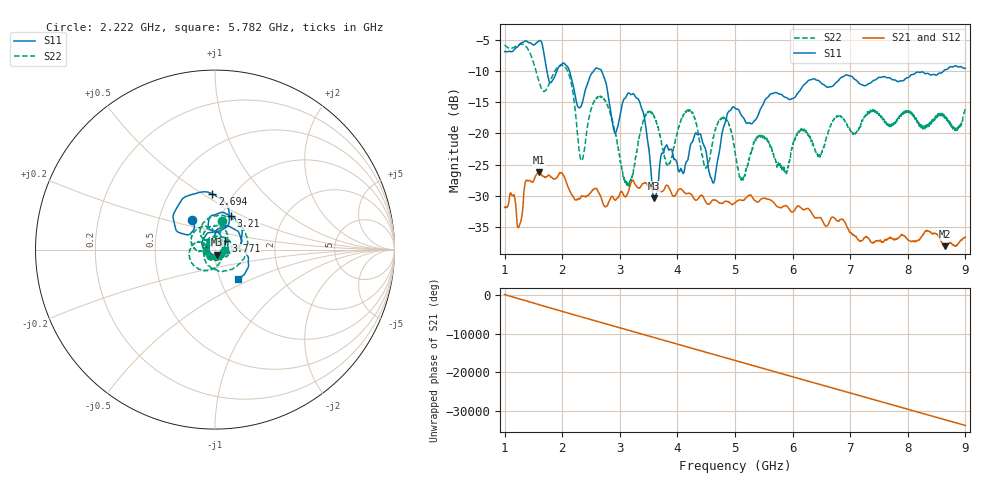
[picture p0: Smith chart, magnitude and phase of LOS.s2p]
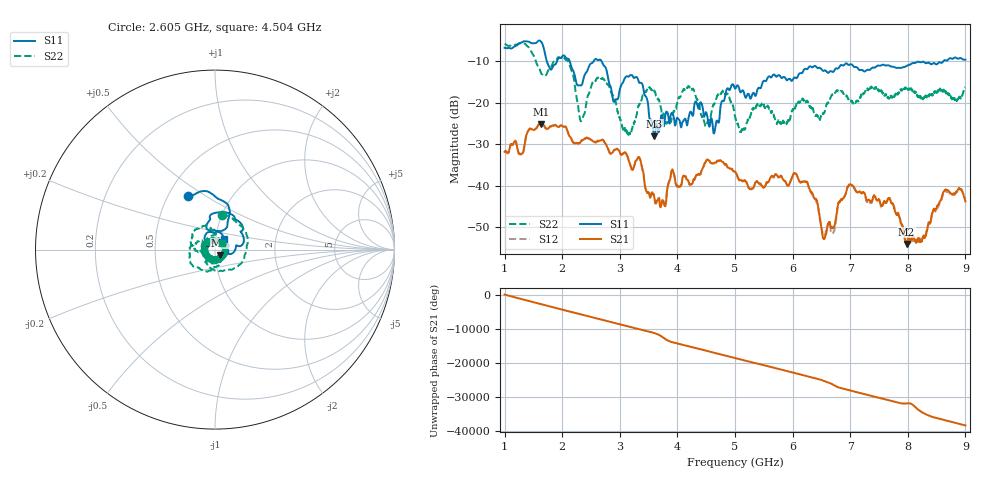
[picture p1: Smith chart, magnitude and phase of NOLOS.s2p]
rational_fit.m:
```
%Author : Yevgeniy Simonov
%Date : June 3, 2020
%Curtin University, 2020

close all 
clear all

Nexp = 3;
Npoles = 200;
freq_dev = 0.5e9; %how much you want to cutoff from start and end frequency

experiment = ["dataM/LOS.s2p", ... %EXP(1) Line-of-sight,3m
              "dataM/NOLOS.s2p", ... %EXP(2) No Line-of-sight, 3m
              "dataM/1R.s2p", ... %EXP(3) 1 Side Reflector, 3m
              "dataM/2R.s2p", ... %EXP(4) 2 Side Reflectors, 3m
              "dataM/3R.s2p", ... %EXP(5) 3 Side Reflectros, 3m
              "dataM/3R_NOLOS.s2p", ... %EXP(6) 3 Side Reflectors No Line-of-sight, 3m
              "dataM/3R_2D.s2p", ... %EXP(7) 3 Side Reflectors, 2 Diffraction Plates, 3m
              "dataM/3R_4D.s2p", ... %EXP(8) 3 Side Reflectors, 4 Diffraction Plates, 3m
              "dataM/4R_4D.s2p"]; %EXP(9) 4 Side Reflectors, 4 Diffraction Plates

S = sparameters(experiment(Nexp)).Parameters;
freq1 = sparameters(experiment(Nexp)).Frequencies;

S21 = squeeze(S(2,1,:));
TF1 = S21/2;

%remove lower frequency components that cause phase deviation
%the upper frequencies have to be removed too to keep  
%center frequency at the same position
freq_cutoff1 = freq1(1) + freq_dev;
freq_cutoff2 = freq1(end) - freq_dev;

%find the closest position to cutoff points
pos1 = (abs(freq1 - freq_cutoff1) < 0.01e9);
pos2 = (abs(freq1 - freq_cutoff2) < 0.01e9);
    
f1 = min(find(pos1 == 1));
f2 = max(find(pos2 == 1));

%create a new frequency array and update boundaries of transfer function
freq = freq1(f1:f2);
TF = TF1(f1:f2);

%fit transfer function into rational fit
fit = rationalfit(freq,TF,'NPoles',Npoles);
TF_fitted = freqresp(fit,freq);

%%
fCenter = 5e9;
period = 1/fCenter;
sampleTime = period/16;
signalLen = 8192;
ts = (0:signalLen-1)'*sampleTime; % 256 periods
ts_ns = ts * 1e9;

Ns = size(ts,1);
phi = unifrnd(-pi,pi,Ns,1);
input_AM = (1+unifrnd(-1,1,Ns,1)).*cos(2*pi*fCenter*ts);
input_PM = cos(phi).*cos(2*pi*fCenter*ts)-sin(phi).*sin(2*pi*fCenter*ts);
input_TH = randn(size(ts))+cos(2*pi*fCenter*ts);

output_AM = timeresp(fit,input_AM,sampleTime);
output_PM = timeresp(fit,input_PM,sampleTime);
output_TH = timeresp(fit,input_TH,sampleTime);

Npts = signalLen/8;

power_corr_AM_Tx = power_correlation(0.5*abs(input_AM).^2,Npts);
power_corr_PM_Tx = power_correlation(0.5*abs(input_PM).^2,Npts);
power_corr_TH_Tx = power_correlation(0.5*abs(input_TH).^2,Npts);

power_corr_AM_Rx = power_correlation(0.5*abs(output_AM).^2,Npts);
power_corr_PM_Rx = power_correlation(0.5*abs(output_PM).^2,Npts);
power_corr_TH_Rx = power_correlation(0.5*abs(output_TH).^2,Npts);

[resp,t]=impulse(fit,1e-11,5e4);

%% Channel Transfer Function Magnitude and Phase
figure('DefaultAxesFontSize', 14, 'units',...
    'normalized','outerposition',[0 0 1 1]);
semilogy(freq/1e9,abs(TF),freq/1e9,abs(TF_fitted),'--','LineWidth',2)
xlabel('Frequency (GHz)')
ylabel('Magnitude')
legend('data','fit')
title('Channel Transfer Function and the Rational Fit')
grid on

figure('DefaultAxesFontSize', 14, 'units',...
    'normalized','outerposition',[0 0 1 1]);
subplot(2,1,1)
plot(freq/1e9,180/pi*atan2(imag(TF),real(TF)))
grid on
xlabel('Frequency, GHz')
ylabel('Phase (Deg)')
title('Phase of the Transfer Function (Data)')
subplot(2,1,2)
plot(freq/1e9,unwrap(angle(TF)),...
     freq/1e9,unwrap(angle(TF_fitted)), '--','LineWidth',2)
grid on
xlabel('Frequency, GHz')
ylabel('Unwrapper Phase (Deg)')
legend('data','fit')

%% Channel Impulse Response
figure('DefaultAxesFontSize', 14, 'units',...
    'normalized','outerposition',[0 0 1 1]);
plot(t*1e9,resp)
grid on
title('Impulse Response')
xlabel('Time,ns')
ylabel('Magnitude, linear')
xlim([0 25])

%% Signals at the transmitter
figure('DefaultAxesFontSize', 14, 'units',...
    'normalized','outerposition',[0 0 1 1]);
plot(ts_ns,input_AM)
hold on
plot(ts_ns,input_PM)
hold on
plot(ts_ns,input_TH)
grid on
xlabel('Time,ns')
ylabel('Magnitude, V')
legend('AM','PM','Thermal')
xlim([0 2.5])
title('Transmitted Signals')

%% Signals at the receiver
figure('DefaultAxesFontSize', 14, 'units',...
    'normalized','outerposition',[0 0 1 1]);
plot(ts_ns,output_AM)
hold on
plot(ts_ns,output_PM)
hold on
plot(ts_ns,output_TH)
grid on
xlabel('Time,ns')
ylabel('Magnitude, V')
legend('AM','PM','Thermal')
xlim([10 16])
title('Signals at the Receiver')

%% Power Correlation at Tx
figure('DefaultAxesFontSize', 14, 'units',...
    'normalized','outerposition',[0 0 1 1]);
plot(ts(1:Npts)*1e9,power_corr_AM_Tx)
hold on
plot(ts(1:Npts)*1e9,power_corr_PM_Tx)
hold on
plot(ts(1:Npts)*1e9,power_corr_TH_Tx)
grid on
xlim([0 3])
legend('AM','PM','Thermal')
title('Power Correlation at the Transmitter')
xlabel('Time Delay (ns)')

%% Power Correlation at Rx
figure('DefaultAxesFontSize', 14, 'units',...
    'normalized','outerposition',[0 0 1 1]);
plot(ts(1:Npts)*1e9,power_corr_AM_Rx)
hold on
plot(ts(1:Npts)*1e9,power_corr_PM_Rx)
hold on
plot(ts(1:Npts)*1e9,power_corr_TH_Rx)
grid on
xlim([0 3])
legend('AM','PM','Thermal')
title('Power Correlation at the Receiver')
xlabel('Time Delay (ns)')

%% Frequency Response
NFFT = 2^nextpow2(signalLen);
samplingFreq = 1/sampleTime;

df = freq(2)-freq(1);
PSD_input_AM = abs(fft(input_AM,NFFT)).^2/signalLen;
PSD_input_PM = abs(fft(input_PM,NFFT)).^2/signalLen;
PSD_input_TH = abs(fft(input_TH,NFFT)).^2/signalLen;

PSD_output_AM = abs(fft(output_AM,NFFT)).^2/signalLen;
PSD_output_PM = abs(fft(output_PM,NFFT)).^2/signalLen;
PSD_output_TH = abs(fft(output_TH,NFFT)).^2/signalLen;

f = samplingFreq/2*linspace(0,1,NFFT/2+1)';

%%
figure('DefaultAxesFontSize', 14, 'units',...
    'normalized','outerposition',[0 0 1 1]);
plot(f/1e9,20*log10(PSD_input_AM(1:NFFT/2+1)),'-*','MarkerSize',3)
hold on
plot(f/1e9,20*log10(PSD_input_PM(1:NFFT/2+1)),'r','LineWidth',1)
hold on
plot(f/1e9,20*log10(PSD_input_TH(1:NFFT/2+1)),'-.')
legend('AM','PM','Thermal')
title('Power Spectral Density of the Transmitted Signals (Unnormalized)')
ylabel('Power / Frequency (dB/Hz)')
xlabel('Frequency, GHz')
grid on

figure('DefaultAxesFontSize', 14, 'units',...
    'normalized','outerposition',[0 0 1 1]);
plot(f/1e9,20*log10(PSD_output_AM(1:NFFT/2+1)),'-*','MarkerSize',3)
hold on
plot(f/1e9,20*log10(PSD_output_PM(1:NFFT/2+1)),'r','LineWidth',1)
hold on
plot(f/1e9,20*log10(PSD_output_TH(1:NFFT/2+1)),'-.')
legend('AM','PM','Thermal')
title('Power Spectral Density of the Received Signals (Unnormalized)')
ylabel('Power / Frequency (dB/Hz)')
xlabel('Frequency, GHz')
grid on

function c = power_correlation(P,Npts)
    c = zeros(Npts,1);
    Pm = mean(P);
    Pmsqr = Pm^2;
    Np = size(P,1);
    for i=1:Npts
       Q = zeros(Np,1);
       Q(i+1:end)=P(1:end-i);
       Qm = mean(Q);
       c(i) = mean(P.*Q)/Qm/Pm; 
    end
end
```
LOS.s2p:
!Keysight Technologies N9915A: A.10.33
!Date: Tuesday, 12 May 2020 14:01:56
!Timezone: (UTC+08:00) Perth
!Model: N9915A
!Serial: MY53102697
!GPS Latitude:
!GPS Longitude:
!GPS TimeStamp: 0001-01-01 00:00:00Z
!GPS Seconds Since Last Read: 0
!CHECKSUM:1499652712
!Correction: S11(ON U)S21(ON U)S12(ON U)S22(ON U)
!S2P File: Measurements:S11,S21,S12,S22:
# Hz S DB R 50
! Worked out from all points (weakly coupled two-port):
!   10001 points, 1 GHz to 9 GHz, reference 50 ohm
!   highest |S21| = -26.26 dB at 1.599 GHz (marker M1); lowest = -38.2 dB at 8.64 GHz (marker M2)
!   lowest |S11| = -30.4 dB at 3.593 GHz (marker M3), VSWR 1.06, Z = 51 - j2.88 ohm
!   |S11| at or under -10 dB: 1.735 GHz to 1.903 GHz (167.3 MHz wide, 9.2 % of centre); 2.129 GHz to 2.541 GHz (412.2 MHz wide, 17.7 % of centre); 2.687 GHz to 8.614 GHz (5.926 GHz wide, 105 % of centre)
!   |S22| runs from -28.5 to -5.6 dB; largest |S21 - S12| = 0.0022
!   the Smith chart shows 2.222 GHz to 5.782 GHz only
!   S11 on the Smith chart (normalised r, x): 2.222 GHz: 0.74, +0.25; 2.694 GHz: 0.80, +0.55; 3.21 GHz: 1.11, +0.43; 3.771 GHz: 1.12, +0.10; 5.782 GHz: 1.22, -0.42
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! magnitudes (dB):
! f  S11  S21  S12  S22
! 1 GHz  -6.8  -31.9  -31.8  -5.7
! 1.599 GHz  -5.1  -26.3  -26.3  -11.7
! 2.222 GHz  -13.7  -30.7  -30.7  -15.9
! 2.694 GHz  -10.2  -30.9  -30.9  -14.2
! 3.21 GHz  -13.6  -27.7  -27.7  -27.0
! 3.593 GHz  -30.4  -28.8  -28.9  -17.3
! 3.771 GHz  -22.7  -29.0  -29.1  -23.5
! 5 GHz  -15.9  -31.2  -31.3  -22.9
! 5.782 GHz  -13.6  -32.0  -32.0  -24.9
! 8.64 GHz  -9.7  -38.2  -38.2  -17.2
! 9 GHz  -9.5  -36.7  -36.9  -16.0
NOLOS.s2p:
!Keysight Technologies N9915A: A.10.33
!Date: Tuesday, 12 May 2020 14:05:18
!Timezone: (UTC+08:00) Perth
!Model: N9915A
!Serial: MY53102697
!GPS Latitude:
!GPS Longitude:
!GPS TimeStamp: 0001-01-01 00:00:00Z
!GPS Seconds Since Last Read: 0
!CHECKSUM:0824710176
!Correction: S11(ON U)S21(ON U)S12(ON U)S22(ON U)
!S2P File: Measurements:S11,S21,S12,S22:
# Hz S DB R 50
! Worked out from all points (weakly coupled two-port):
!   10001 points, 1 GHz to 9 GHz, reference 50 ohm
!   highest |S21| = -25.07 dB at 1.639 GHz (marker M1); lowest = -54.0 dB at 7.978 GHz (marker M2)
!   lowest |S11| = -28.0 dB at 3.598 GHz (marker M3), VSWR 1.08, Z = 52.5 - j3.18 ohm
!   |S11| at or under -10 dB: 1.734 GHz to 1.909 GHz (175.1 MHz wide, 9.62 % of centre); 2.131 GHz to 2.542 GHz (410.6 MHz wide, 17.6 % of centre); 2.685 GHz to 8.615 GHz (5.929 GHz wide, 105 % of centre)
!   |S22| runs from -27.7 to -5.6 dB; largest |S21 - S12| = 0.019
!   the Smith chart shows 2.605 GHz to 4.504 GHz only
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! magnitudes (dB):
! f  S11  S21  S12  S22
! 1 GHz  -6.7  -31.8  -31.9  -5.8
! 1.639 GHz  -5.4  -25.1  -25.1  -13.0
! 2.076 GHz  -9.3  -26.2  -26.2  -9.7
! 2.336 GHz  -15.7  -29.0  -29.1  -24.2
! 2.709 GHz  -10.7  -28.9  -29.0  -14.1
! 3.154 GHz  -13.7  -33.9  -33.9  -27.5
! 3.598 GHz  -28.0  -42.5  -42.8  -17.0
! 5 GHz  -16.6  -36.6  -36.8  -23.1
! 7.686 GHz  -11.1  -43.1  -43.1  -18.5
! 7.978 GHz  -11.1  -54.0  -54.5  -16.6
! 9 GHz  -9.6  -43.7  -43.1  -16.3
